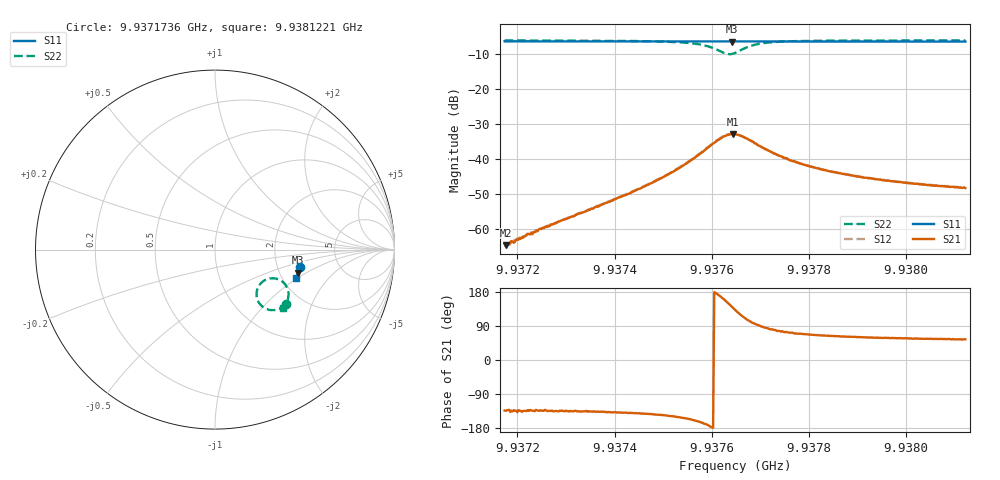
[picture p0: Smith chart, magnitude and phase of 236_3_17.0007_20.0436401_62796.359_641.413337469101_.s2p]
#  HZ  S  RI  R  50.00
! Rohde & Schwarz Vector Network Analyzer
! Rohde-Schwarz,ZNB20-2Port,1311601062101988,3.16
! Created: UTC 3/20/2024, 11:02:41 PM
! freq[Hz]  re:S11  im:S11  re:S21  im:S21  re:S12  im:S12  re:S22  im:S22
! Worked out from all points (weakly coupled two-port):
!   401 points, 9.9371736 GHz to 9.9381221 GHz, reference 50 ohm
!   highest |S21| = -32.83 dB at 9.9376431 GHz (marker M1); lowest = -64.5 dB at 9.937176 GHz (marker M2)
!   lowest |S11| = -6.4 dB at 9.9376408 GHz (marker M3), VSWR 2.84, Z = 126 - j41.9 ohm
!   |S11| at or under -10 dB: nowhere
!   |S22| runs from -10.0 to -6.1 dB; largest |S21 - S12| = 0.00091
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9.93717365e9  0.4739 -0.0985  -0.000419 -0.000444  -0.000422 -0.000399  0.3959 -0.3018
9.93717602e9  0.4737 -0.0988  -0.000414 -0.000425  -0.000417 -0.000387  0.3956 -0.3023
9.93719736e9  0.4735 -0.1003  -0.000486 -0.000509  -0.000501 -0.000502  0.3941 -0.3038
9.93721159e9  0.4731 -0.1012  -0.000528 -0.000538  -0.000556 -0.000554  0.3929 -0.305
9.93722581e9  0.4728 -0.1022  -0.000557 -0.000624  -0.000609 -0.000584  0.3916 -0.3061
9.93733251e9  0.4707 -0.1091  -0.00123 -0.00119  -0.00127 -0.00119  0.3812 -0.3154
9.93742736e9  0.4687 -0.1157  -0.00243 -0.00205  -0.00252 -0.00204  0.3663 -0.3253
9.93749138e9  0.4673 -0.1202  -0.0042 -0.00295  -0.00431 -0.00297  0.3478 -0.3335
9.93754592e9  0.4655 -0.1239  -0.00759 -0.00378  -0.00783 -0.00369  0.3167 -0.3374
9.93758623e9  0.4641 -0.1265  -0.0134 -0.00271  -0.0136 -0.00253  0.2712 -0.3227
9.93761942e9  0.4625 -0.1278  -0.0193 0.00486  -0.0198 0.00542  0.2318 -0.2541
9.93763128e9  0.4621 -0.128  -0.0196 0.01  -0.0196 0.0109  0.2389 -0.2128
9.93764076e9  0.4619 -0.1281  -0.0177 0.0142  -0.0175 0.015  0.2602 -0.183
9.93764313e9  0.4621 -0.1282  -0.017 0.0152  -0.0167 0.016  0.2673 -0.1772
9.93764788e9  0.4619 -0.1282  -0.0152 0.0167  -0.0149 0.0175  0.2828 -0.1681
9.93767396e9  0.4627 -0.1296  -0.00519 0.0189  -0.00478 0.0189  0.3634 -0.1708
9.93770241e9  0.4628 -0.1316  0.000472 0.0149  0.000741 0.0149  0.4005 -0.2095
9.93776169e9  0.4619 -0.1362  0.00295 0.00911  0.00324 0.0091  0.409 -0.2604
9.93780674e9  0.4607 -0.1393  0.00305 0.0071  0.00325 0.00708  0.405 -0.2794
9.93788025e9  0.4591 -0.1442  0.00283 0.00527  0.00297 0.00525  0.397 -0.2971
9.93796561e9  0.4569 -0.15  0.00262 0.00416  0.00265 0.00412  0.3893 -0.3094
9.93812211e9  0.4529 -0.1599  0.00223 0.00314  0.00233 0.00312  0.3775 -0.3242
